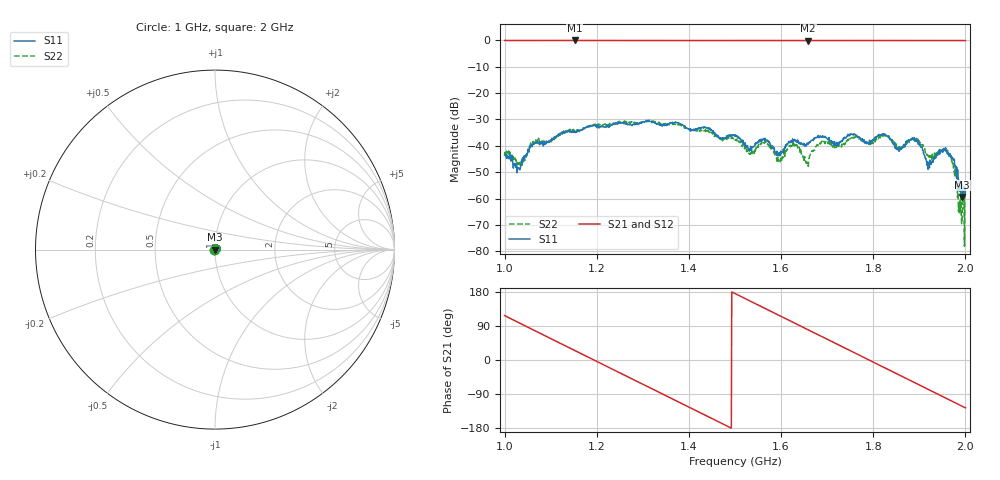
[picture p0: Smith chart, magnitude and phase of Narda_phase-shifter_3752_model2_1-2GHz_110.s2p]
#  HZ  S  DB  R  50.00
! Rohde & Schwarz Vector Network Analyzer
! Rohde-Schwarz,ZNB8-4Port,1311601044102961,2.82
! Created: UTC 1/17/2019, 2:39:08 PM
! freq[Hz]  db:S11  ang:S11  db:S21  ang:S21  db:S12  ang:S12  db:S22  ang:S22
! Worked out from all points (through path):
!   1001 points, 1 GHz to 2 GHz, reference 50 ohm
!   highest |S21| = -0.06 dB at 1.152 GHz (marker M1); lowest = -0.1 dB at 1.659 GHz (marker M2)
!   group delay of S21, straight-line fit = 1.68 ns
!   lowest |S11| = -59.3 dB at 1.993 GHz (marker M3), VSWR 1.00, Z = 49.9 + j0.00645 ohm
!   |S11| at or under -10 dB: start of sweep to end of sweep
!   |S22| runs from -78.0 to -30.2 dB; largest |S21 - S12| = 0.011
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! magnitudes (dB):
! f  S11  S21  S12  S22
! 1 GHz  -43.5  -0.1  -0.1  -43.3
! 1.032 GHz  -48.7  -0.1  -0.1  -47.1
! 1.061 GHz  -39.4  -0.1  -0.1  -39.1
! 1.152 GHz  -34.3  -0.1  -0.1  -34.4
! 1.167 GHz  -34.1  -0.1  -0.1  -33.9
! 1.334 GHz  -31.8  -0.1  -0.1  -31.2
! 1.5 GHz  -36.4  -0.1  -0.1  -37.8
! 1.533 GHz  -41.4  -0.1  -0.1  -43.2
! 1.568 GHz  -38.2  -0.1  -0.1  -39.4
! 1.593 GHz  -43.8  -0.1  -0.1  -44.4
! 1.63 GHz  -37.7  -0.1  -0.1  -40.0
! 1.659 GHz  -39.3  -0.1  -0.1  -47.7
! 1.667 GHz  -37.8  -0.1  -0.1  -41.9
! 1.834 GHz  -36.8  -0.1  -0.1  -36.2
! 1.855 GHz  -41.3  -0.1  -0.1  -40.3
! 1.892 GHz  -37.5  -0.1  -0.1  -37.2
! 1.921 GHz  -46.8  -0.1  -0.1  -44.8
! 1.958 GHz  -41.9  -0.1  -0.1  -41.7
! 1.975 GHz  -45.0  -0.1  -0.1  -49.6
! 1.988 GHz  -56.6  -0.1  -0.1  -60.9
! 1.993 GHz  -59.3  -0.1  -0.1  -66.3
! 2 GHz  -58.3  -0.1  -0.1  -57.8
